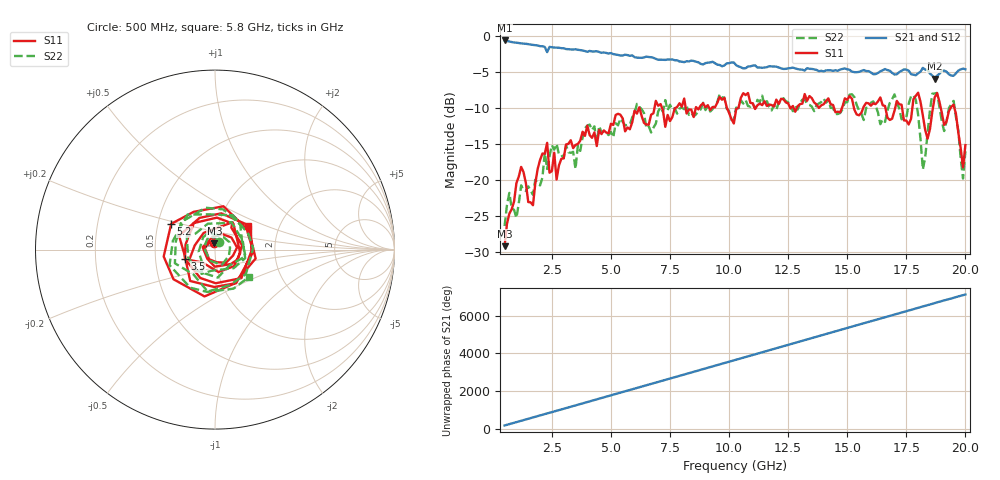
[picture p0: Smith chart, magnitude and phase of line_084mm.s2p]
!Created with skrf (http://scikit-rf.org).
# GHz S RI R 50.0
!freq ReS11 ImS11 ReS21 ImS21 ReS12 ImS12 ReS22 ImS22
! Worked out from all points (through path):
!   196 points, 500 MHz to 20 GHz, reference 50 ohm
!   highest |S21| = -0.61 dB at 500 MHz (marker M1); lowest = -5.9 dB at 18.7 GHz (marker M2)
!   lowest |S11| = -29.2 dB at 500 MHz (marker M3), VSWR 1.07, Z = 49.5 + j3.42 ohm
!   |S11| at or under -10 dB: start of sweep to 6.188 GHz; 6.208 GHz to 6.842 GHz (633.2 MHz wide, 9.7 % of centre); 7.165 GHz to 7.72 GHz (555.2 MHz wide, 7.46 % of centre)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
!   |S22| runs from -26.4 to -7.9 dB; largest |S21 - S12| = 0.49
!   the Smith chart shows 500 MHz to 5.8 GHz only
!   S11 on the Smith chart (normalised r, x): 500 MHz: 0.99, +0.07; 3.5 GHz: 0.71, -0.07; 5.2 GHz: 0.59, +0.18; 5.8 GHz: 1.39, +0.38
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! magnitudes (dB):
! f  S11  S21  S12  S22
! 500 MHz  -29.2  -0.6  -0.6  -26.4
! 1.2 GHz  -18.2  -1.0  -1.0  -20.7
! 1.7 GHz  -23.5  -1.2  -1.2  -22.0
! 2.3 GHz  -14.8  -2.2  -2.3  -18.5
! 2.7 GHz  -19.9  -1.6  -1.6  -15.0
! 3.5 GHz  -15.1  -1.8  -1.9  -18.5
! 3.8 GHz  -13.3  -2.0  -2.1  -14.1
! 5.2 GHz  -11.0  -2.6  -2.6  -12.1
! 5.8 GHz  -12.9  -2.7  -2.8  -12.3
! 7 GHz  -9.7  -3.3  -3.3  -10.5
! 10.3 GHz  -10.2  -4.1  -4.1  -9.9
! 13.5 GHz  -8.6  -4.6  -4.6  -9.8
! 16.8 GHz  -11.7  -4.8  -4.9  -9.3
! 17.6 GHz  -12.3  -4.8  -4.9  -9.4
! 17.9 GHz  -8.3  -5.4  -5.5  -8.8
! 18.2 GHz  -11.1  -4.4  -4.6  -18.5
! 18.4 GHz  -14.2  -4.7  -4.8  -13.5
! 18.7 GHz  -8.5  -5.9  -5.9  -8.0
! 19.1 GHz  -12.3  -4.8  -4.8  -13.2
! 19.5 GHz  -9.5  -5.5  -5.5  -9.0
! 19.9 GHz  -18.2  -4.5  -4.5  -19.8
! 20 GHz  -15.1  -4.6  -4.6  -16.0
